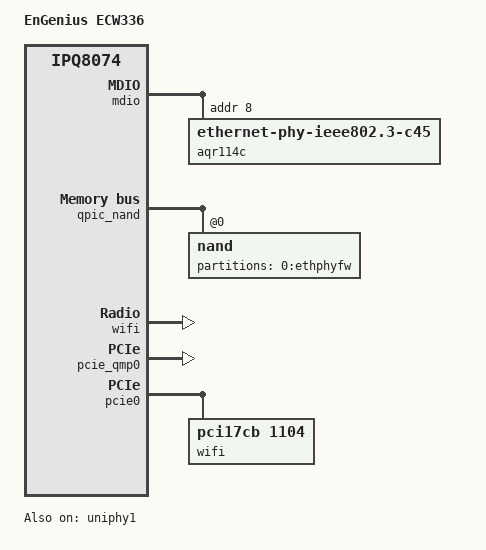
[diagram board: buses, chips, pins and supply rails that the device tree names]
// SPDX-License-Identifier: GPL-2.0-or-later OR BSD-2-Clause
/*
 * EnGenius ECW336 — Wi-Fi 6E (AX8400) tri-band AP, product_id 0x0123 (291)
 *
 * Board design is QCA **AP-HK01-C6**, not AP-HK07. The DTB this unit boots
 * is the one QSDK ships as fdt@hk07 (ECW336 firmware v1.8.118-12), and it is
 * an hk01-c6 derivative: compatible = "qcom,ipq8074-ap-hk01-c6",
 * "qcom,ipq8074-hk01"; only its model string was relabelled
 * "IPQ8074/AP-HK07", which is why the kernel prints AP-HK07 over UART. What
 * separates it from the sibling fdt@hk01.c6 is silicon, not wiring: it
 * carries msm-id 0x156/0x185 (IPQ8072A) where hk01.c6 lists 0x143/0x186 and
 * 0x158/0x188, and u-boot matches on that. It is also the variant whose
 * switch config matches this product — one port (switch_lan_bmp = 0x20,
 * switch_mac_mode1 = 0x0d) against hk01.c6's five (0x3e / 0xff).
 *
 * Shared with the EWS377AP v3 / ECW230v3 / EWS377-FIT, and the reason the
 * dtsi below is reused: IPQ8072A, reset button on GPIO 52, parallel NAND
 * 128k/2048 with ECC 4/512 and SMEM partitions, MDIO on GPIO 68/69, console
 * on serial@78b3000. Those are Senao/EnGenius platform traits and are
 * confirmed on this unit (UART, and /etc/factory.d/btn.cfg: BTN_GPIO="52").
 * The Ethernet front end is NOT shared — see below.
 *
 * Two hardware differences from those three, both read out of the booted
 * DTB and cross-checked against the stock rootfs:
 *
 *  1. Ethernet is a single 5 GbE port on ESS port 5 via uniphy1 in USXGMII
 *     mode behind a Marvell AQR114C clause-45 PHY at MDIO address 8 — not
 *     the QCA8081 2.5 GbE on port 6 / uniphy2 that the dual-band siblings
 *     use (those values come from EnGenius' own OEM DTS, not from any QCA
 *     RDP, so the reference-design name predicts nothing here). Cross-checked
 *     against the stock rootfs: /etc/factory.d/board.cfg says ETH="AQR114C",
 *     and the image ships aq-fw-download + an sn-ethphyfw package.
 *  2. A QCN9074 6 GHz radio on the PCIe gen3 controller (pcie@20000000,
 *     the only one enabled), PERST on GPIO 58 active-low. Stock console:
 *     "remoteproc1: QCN9000_PCI0 is available".
 *
 * Deliberately NOT inherited from the siblings' dtsi: its MDIO
 * reset-gpios = <&tlmm 43>. On this board GPIO 42/43 are muxed as blsp1_i2c,
 * and the stock DTB declares no PHY reset line at all.
 *
 * LEDs: the dtsi's gpio-leds on GPIO 54/55/56 are deleted below — those are
 * the siblings' LEDs and appear nowhere in this board's DTB. All five of this
 * board's LEDs hang off the IPQ807x LEDC block (ledc@191e000, "qti,ledc",
 * GPIO 18/19/20 = clk/data/clr), driven by kmod-leds-ipq-ledc.
 *
 * Other board pins seen in the stock DTB and not yet used: dc_det GPIO 64,
 * 802.3at class detect GPIO 66, AQR PHY interrupt GPIO 67.
 */

#include "ipq8072-engenius-ap-hk07.dtsi"

/ {
	model = "EnGenius ECW336";
	compatible = "engenius,ecw336", "qcom,ipq8074";

	/* The dtsi's gpio-leds are the siblings' LEDs, not this board's. */
	/delete-node/ leds;
};

&{/aliases} {
	led-boot = &led_pwr;
	led-failsafe = &led_pwr;
	led-running = &led_pwr;
	led-upgrade = &led_pwr;
};

&tlmm {
	ledc_pins: ledc-pins {
		led_clk {
			pins = "gpio18";
			function = "led0";
			drive-strength = <8>;
			bias-pull-down;
		};

		led_data {
			pins = "gpio19";
			function = "led1";
			drive-strength = <8>;
			bias-pull-down;
		};

		led_clr {
			pins = "gpio20";
			function = "led2";
			drive-strength = <8>;
			bias-pull-up;
		};
	};
};

/*
 * All five LEDs hang off the IPQ807x LEDC block over a serial clk/data/clr
 * interface, not off GPIOs. Every value here is the vendor's own, read out of
 * the DTB the stock firmware boots (ledc@191e000): the twelve TCSR register
 * values, the blink indices (which are the LEDs' bit positions in CG6, in the
 * order power, lan, 2.4G, 5G, 6G) and the single LED-index/blink-source pair.
 * Pin functions led0/led1/led2 on GPIO 18/19/20 exist in mainline's
 * pinctrl-ipq8074, so the vendor's pinmux carries over unchanged.
 */
&soc {
	ledc: ledc@191e000 {
		compatible = "qti,ledc";
		reg = <0x191e000 0x20070>;
		reg-names = "ledc_base_addr";

		qti,tcsr_ledc_values = <0x320193 0x0 0x0 0x0 0x0 0xffffffff
					0xffff7fff 0xffffffff 0x7d0820 0x0
					0x10482094 0x3ffffe1>;
		qti,ledc_blink_indices_cnt = <5>;
		qti,ledc_blink_indices = <0xf 0xe 0xd 0xc 0xb>;
		qti,ledc_blink_idx_src_pair = <5 20>;

		pinctrl-0 = <&ledc_pins>;
		pinctrl-names = "default";

		/*
		 * Labels mirror the vendor's own LED names (pwr_led, lan_led,
		 * wlan_{2g,5g,6g}_led); the physical colours are not recorded
		 * anywhere in the firmware, so function/color are not claimed.
		 */
		led_pwr: led-0 {
			label = "ecw336:pwr";
		};

		led_lan: led-1 {
			label = "ecw336:lan";
		};

		led_wlan2g: led-2 {
			label = "ecw336:wlan2g";
		};

		led_wlan5g: led-3 {
			label = "ecw336:wlan5g";
		};

		led_wlan6g: led-4 {
			label = "ecw336:wlan6g";
		};
	};
};

&mdio {
	/* 42/43 are blsp1_i2c here, so the siblings' PHY reset must not fire. */
	/delete-property/ reset-gpios;
	/delete-node/ ethernet-phy@28;

	aqr114c: ethernet-phy@8 {
		compatible = "ethernet-phy-ieee802.3-c45";
		reg = <8>;
		nvmem-cells = <&aqr_fw>;
		nvmem-cell-names = "firmware";
	};
};

/* The 5 GbE port hangs off uniphy1, so the siblings' uniphy2 stays down. */
&uniphy1 {
	status = "okay";
};

&uniphy2 {
	status = "disabled";
};

&switch {
	ports {
		/delete-node/ port@6;

		swport5: port@5 {
			reg = <5>;
			label = "lan";
			phy-handle = <&aqr114c>;
			phy-mode = "usxgmii";
			managed = "in-band-status";
			pcs-handle = <&uniphy1 0>;
			nvmem-cells = <&macaddr_ubootenv_ethaddr>;
			nvmem-cell-names = "mac-address";
		};
	};
};

/*
 * The AQR114C has no on-board flash of its own: its firmware lives in the
 * 0:ETHPHYFW NAND partition (0xff80000, 512 KiB per u-boot smeminfo) behind
 * a 40-byte QCOM MBN header, and u-boot does not load it on Linux's behalf.
 * Same arrangement as the Linksys MX8500, which carries the same PHY; the
 * cell length is taken from there and fits inside this smaller partition
 * (0x28 + 0x60002 = 0x6002a < 0x80000). The .cld parser reads its own
 * lengths out of the header, so a cell longer than the blob is harmless.
 */
&qpic_nand {
	nand@0 {
		partitions {
			partition-0-ethphyfw {
				label = "0:ethphyfw";
				read-only;

				nvmem-layout {
					compatible = "fixed-layout";
					#address-cells = <1>;
					#size-cells = <1>;

					aqr_fw: firmware@28 {
						/* skip the 40-byte QCOM MBN header */
						reg = <0x28 0x60002>;
					};
				};
			};
		};
	};
};

&wifi {
	qcom,ath11k-calibration-variant = "EnGenius-ECW336";
};

/* 6 GHz: QCN9074 on the gen3 controller. */
&pcie_qmp0 {
	status = "okay";
};

&pcie0 {
	status = "okay";

	perst-gpios = <&tlmm 58 GPIO_ACTIVE_LOW>;

	pcie@0 {
		wifi@0,0 {
			status = "okay";

			/* ath11k has no DT compatible for PCI cards */
			compatible = "pci17cb,1104";
			reg = <0x00010000 0 0 0 0>;

			qcom,ath11k-calibration-variant = "EnGenius-ECW336";
		};
	};
};
